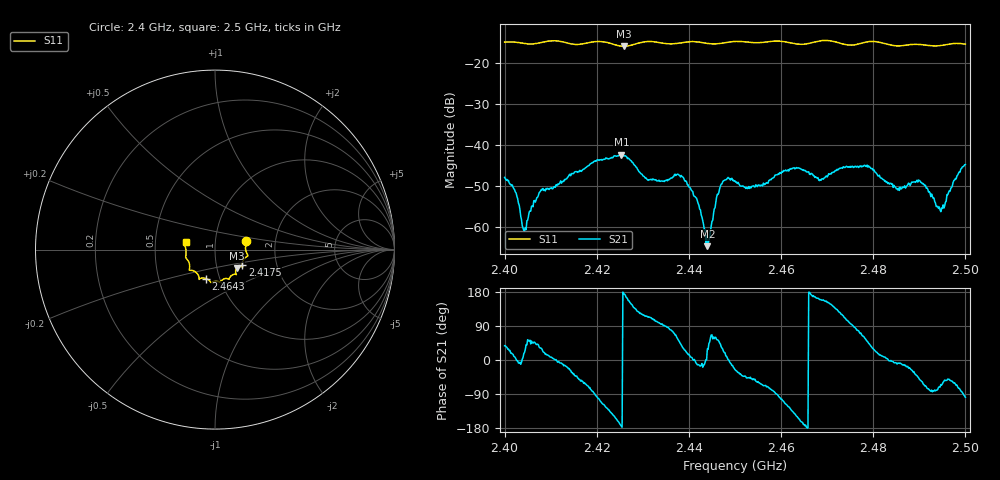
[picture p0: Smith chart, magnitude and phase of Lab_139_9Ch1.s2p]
# Hz S RI R 50
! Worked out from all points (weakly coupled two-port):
!   601 points, 2.4 GHz to 2.5 GHz, reference 50 ohm
!   highest |S21| = -42.34 dB at 2.4253 GHz (marker M1); lowest = -64.7 dB at 2.444 GHz (marker M2)
!   lowest |S11| = -15.9 dB at 2.4258 GHz (marker M3), VSWR 1.38, Z = 62.3 - j13.2 ohm
!   |S11| at or under -10 dB: start of sweep to end of sweep
!   S12 and S22 are empty: the file has one direction only
!   S11 on the Smith chart (normalised r, x): 2.4 GHz: 1.41, +0.14; 2.4175 GHz: 1.34, -0.23; 2.4643 GHz: 0.86, -0.29; 2.5 GHz: 0.72, +0.06
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2.4e9  0.1726 0.0485  0.00318 0.00246  0 0  0 0
2.402167e9  0.1752 0.0392  0.00281 0.000423  0 0  0 0
2.404333e9  0.1713 0.0215  0.000842 0.000311  0 0  0 0
2.407833e9  0.1763 -0.0185  0.00236 0.00144  0 0  0 0
2.416667e9  0.153 -0.0739  0.00283 -0.00383  0 0  0 0
2.4175e9  0.1519 -0.0833  0.00235 -0.00468  0 0  0 0
2.425333e9  0.1253 -0.0998  -0.0076 -0.000726  0 0  0 0
2.425833e9  0.1215 -0.1033  -0.00744 0.000616  0 0  0 0
2.433333e9  0.1133 -0.1373  -0.000565 0.00361  0 0  0 0
2.438833e9  0.0803 -0.1584  0.00342 0.002  0 0  0 0
2.442e9  0.0742 -0.1644  0.00189 -0.000408  0 0  0 0
2.444e9  0.0635 -0.1609  0.000508 0.000286  0 0  0 0
2.447167e9  0.0395 -0.1696  0.00284 0.00177  0 0  0 0
2.45e9  0.0287 -0.1807  0.00329 -0.00156  0 0  0 0
2.453e9  0.0175 -0.1779  0.00213 -0.00226  0 0  0 0
2.464333e9  -0.05 -0.1612  -0.00484 -0.0015  0 0  0 0
2.466667e9  -0.0761 -0.1592  -0.00441 0.000712  0 0  0 0
2.4785e9  -0.1386 -0.115  0.00335 0.00431  0 0  0 0
2.483333e9  -0.1411 -0.0902  0.00346 -8.34e-05  0 0  0 0
2.490333e9  -0.1631 -0.0385  0.00203 -0.00283  0 0  0 0
2.495e9  -0.1638 0.00961  0.000761 -0.0015  0 0  0 0
2.5e9  -0.164 0.043  -0.000871 -0.00571  0 0  0 0
